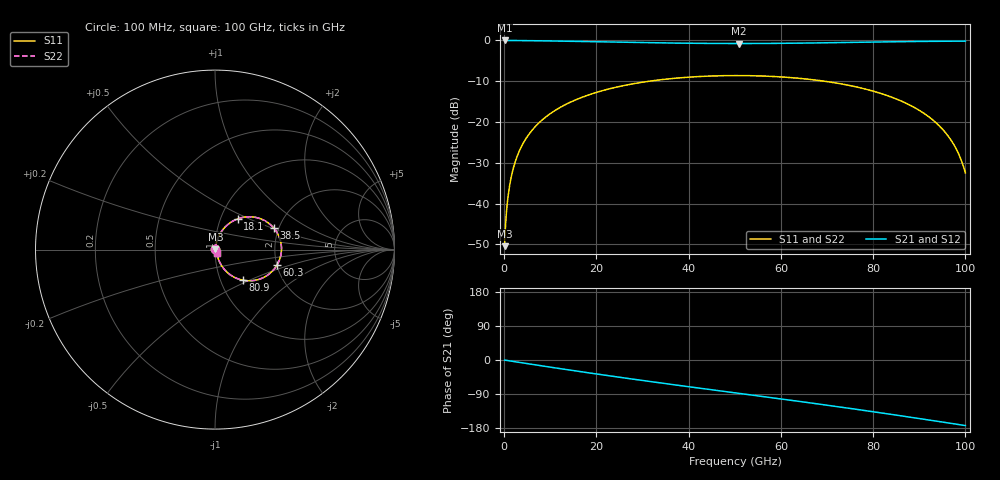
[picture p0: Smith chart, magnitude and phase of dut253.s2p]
! Touchstone file exported from HFSS 2026.1.0
!  File:  C:/ffzhzh/LocalFiles/Ansys_Project_Files/temp_train_RDL_253_1783501561_31944.aedt
!  Generated:  05:07:29 PM Jul  8, 2026
!  Design:  RDL
!  Project:  temp_train_RDL_253_1783501561_31944
! Variables:
!  h_bsmrdl = 2um
!  h_ox = 20um
!  h_rdl = 5um
!  h_sub = 80um
!  h_tmrdl = 3.45um
!  h_tsv = 80um
!  h_via = 3um
!  l_bsmrdl = 300um
!  l_sub = 989.19um
!  l_tmrdl = 589.19um
!  m_sub = 200um
!  pitch = 41.71um
!  r_tsv = 6um
!  s_tmrdl = 10um
!  w_bsmrdl = 18um
!  w_sub = 500um
!  w_tmrdl = 26.88um
!  x_tsv_center1 = 602.63um
!  x_tsv_center2 = 920.63um
!  x_tsv_center3 = 1536.7um
!  x_tsv_center4 = 1854.7um
!  x_tsv_center5 = 2470.77um
!  x_tsv_center6 = 2788.77um
# GHz S MA R 50.000000
! Terminal data exported
! Port[1] = TM_RDL1_1_T1
! Port[2] = TM_RDL1_1_T2
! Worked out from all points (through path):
!   1000 points, 100 MHz to 100 GHz, reference 50 ohm
!   highest |S21| = -0.02 dB at 100 MHz (marker M1); lowest = -0.8 dB at 50.9 GHz (marker M2)
!   group delay of S21, straight-line fit = 4.69 ps
!   lowest |S11| = -50.4 dB at 100 MHz (marker M3), VSWR 1.01, Z = 50.3 + j0.166 ohm
!   |S11| at or under -10 dB: start of sweep to 31.5 GHz; 69.38 GHz to end of sweep
!   |S22| runs from -50.4 to -8.6 dB; largest |S21 - S12| = 1.8e-14
!   S11 on the Smith chart (normalised r, x): 100 MHz: 1.01, +0.00; 18.1 GHz: 1.20, +0.43; 38.5 GHz: 1.88, +0.52; 60.3 GHz: 2.00, -0.40; 80.9 GHz: 1.28, -0.46; 100 GHz: 1.02, -0.04
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0.1  0.003011 33.2  0.9975 -0.2  0.9975 -0.2  0.003011 33.2
! Gamma 0 0 0 0
! Port Impedance 50 0 50 0
0.9  0.01293 72.8  0.9965 -1.8  0.9965 -1.8  0.01293 72.8
1.6  0.02201 77.2  0.9961 -3.1  0.9961 -3.1  0.02201 77.2
2.7  0.03642 78.3  0.9952 -5.2  0.9952 -5.2  0.03642 78.3
4.2  0.05586 76.9  0.9936 -8.0  0.9936 -8.0  0.05586 76.9
6.3  0.08232 73.8  0.9905 -12.0  0.9905 -12.0  0.08232 73.8
9.1  0.1161 69.1  0.9856 -17.2  0.9856 -17.2  0.1161 69.0
16.8  0.1998 55.9  0.9694 -31.2  0.9694 -31.2  0.1998 55.9
18.1  0.2126 53.7  0.9664 -33.5  0.9664 -33.5  0.2125 53.7
25.1  0.2732 41.9  0.9499 -45.7  0.9499 -45.7  0.2732 41.9
33.4  0.3266 28.3  0.9323 -59.7  0.9323 -59.7  0.3266 28.3
38.5  0.349 20.2  0.924 -68.1  0.924 -68.1  0.349 20.1
50.1  0.3705 1.9  0.9151 -86.8  0.9151 -86.8  0.3705 1.9
50.9  0.3705 0.7  0.9151 -88.1  0.9151 -88.1  0.3705 0.6
60.3  0.3558 -14.1  0.9201 -103.2  0.9201 -103.2  0.3558 -14.2
66.7  0.3305 -24.4  0.9286 -113.7  0.9286 -113.7  0.3305 -24.4
80.9  0.2307 -47.7  0.9554 -138.1  0.9554 -138.1  0.2307 -47.7
83.4  0.2074 -51.8  0.9601 -142.5  0.9601 -142.5  0.2074 -51.9
89.5  0.1444 -61.7  0.97 -153.6  0.97 -153.6  0.1444 -61.7
94.2  0.09138 -68.3  0.9752 -162.2  0.9752 -162.2  0.09141 -68.3
97.5  0.05279 -70.4  0.9772 -168.4  0.9772 -168.4  0.05285 -70.3
100  0.02377 -63.4  0.9778 -173.0  0.9778 -173.0  0.02389 -63.0
